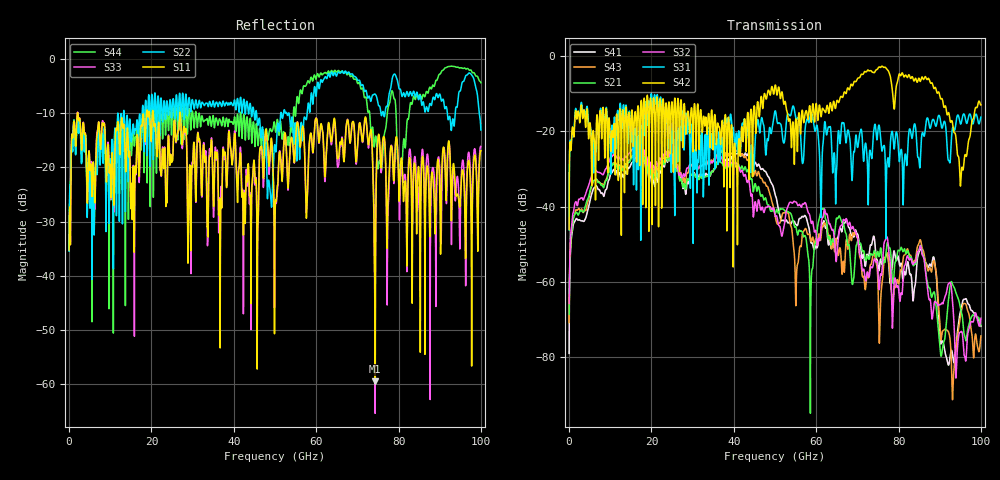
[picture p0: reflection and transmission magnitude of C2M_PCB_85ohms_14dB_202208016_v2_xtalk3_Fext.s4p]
! Info: Touchstone file created by Circ.  Input file=Intel_C2M_200G_3p5in_202208016_staggered.circ
# Hz S RI R 50
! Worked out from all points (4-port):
!   10000 points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, 10 MHz to 100 GHz, reference 50 ohm
!   strongest paths, dB at 10 MHz, 25.01 GHz, 50.01 GHz, 75.01 GHz, 100 GHz:
!     S42: -46.1, -12.3, -7.9, -3.3, -13.0
!     S31: -46.2, -19.3, -14.6, -19.8, -16.2
!     S32: -65.7, -26.8, -42.3, -57.1, -69.7
!     S21: -68.6, -27.4, -41.7, -52.2, -71.6
!     S43: -70.8, -26.3, -42.4, -60.7, -74.3
!     S41: -79.0, -27.0, -36.8, -55.5, -71.8
!   lowest |S11| = -59.4 dB at 74.35 GHz (marker M1), VSWR 1.00, Z = 50 + j0.107 ohm
!   |S11| at or under -10 dB: 2.111 GHz to 18.81 GHz (16.7 GHz wide, 160 % of centre); 20.43 GHz to 26.91 GHz (6.479 GHz wide, 27.4 % of centre); 27.02 GHz to end of sweep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
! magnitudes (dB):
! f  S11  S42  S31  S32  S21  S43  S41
! 10 MHz  -35.3  -46.1  -46.2  -65.7  -68.6  -70.8  -79.0
! 1.39 GHz  -13.2  -16.9  -16.4  -39.2  -42.1  -41.9  -43.9
! 17.12 GHz  -19.4  -28.5  -18.7  -24.0  -25.8  -25.3  -26.8
! 40.64 GHz  -21.2  -29.2  -20.5  -28.5  -28.5  -25.1  -26.0
! 74.35 GHz  -59.4  -4.1  -18.3  -54.2  -52.2  -53.7  -50.8
! 95.29 GHz  -21.9  -30.2  -17.5  -73.1  -68.1  -67.7  -66.6
! 100 GHz  -16.9  -13.0  -16.2  -69.7  -71.6  -74.3  -71.8
